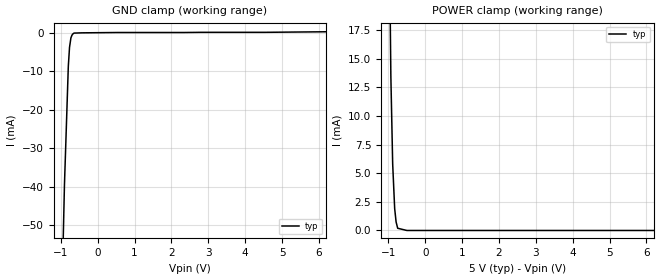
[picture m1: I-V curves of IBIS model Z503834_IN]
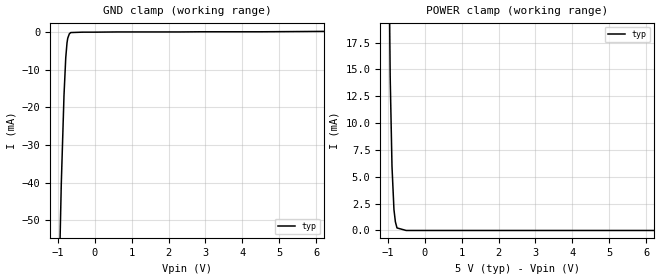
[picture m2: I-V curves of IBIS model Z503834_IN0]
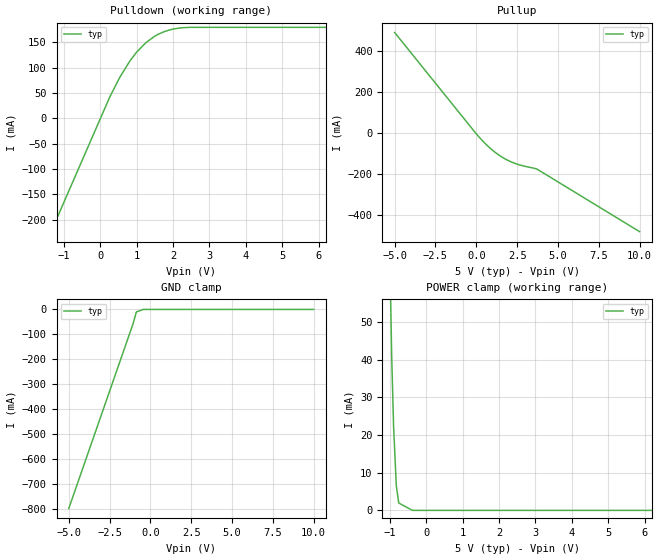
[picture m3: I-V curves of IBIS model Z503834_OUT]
| YOU ARE ONLY AUTHORIZED TO USE THIS SOFTWARE
| ACCORDING TO LICENSOR'S LICENSE RESTRICTIONS.
[IBIS Ver] 3.1
[File Name] mc74act153n.ibs
[File Rev] 2.0
[Source] Measured and created by ICX Technology
[Date] Friday 7/14/00 9:08:01 AM
[Copyright]
| (C) COPYRIGHT 1993-2000
| MENTOR GRAPHICS CORPORATION
| ICX STANDARD LIBRARY, ICX PROJECT MODELING,
| ICX CUSTOM MODELING, ICX VENDOR MODEL
| ALL RIGHTS RESERVED.
| THE FOLLOWING ARE TRADEMARKS OR SERVICE MARKS OF
| MENTOR GRAPHICS CORPORATION:ICX (R), ICX STANDARD
| LIBRARY(R), ICX PROJECT MODELING(R), ICX CUSTOM
| MODELING(R), qualityIBIS(TM), MODELVIEWER(TM),
| AND MODELEDITOR(TM)
| ALL COPIES OF SOFTWARE, INCLUDING BUT NOT LIMITED TO
| ANY MODIFICATIONS, ENHANCEMENTS OR DERIVATIVE WORKS,
| MUST CONTAIN ALL MENTOR GRAPHICS CORPORATION'S
| NOTICES AND LEGENDS, INCLUDING THOSE EMBEDDED IN
| SOFTWARE AND THOSE AFFIXED TO SOFTWARE MEDIUM
| AND CONTAINER, AS RECEIVED FROM MENTOR GRAPHICS
| CORPORATION.
|  ZAP Model Builder 2.7
[Component] MC74ACT153N
[Manufacturer] OnSemiconductor
[Package]
| variable   typ   min   max
R_pkg  .212ohms NA NA
L_pkg  4.758nH NA NA
C_pkg  1.143pF NA NA
[Pin] signal_name  model_name  R_pin  L_pin C_pin
1 _G1 Z503834_IN0 .224 7.258n 1.578p
2 B Z503834_IN1 .216 5.258n 1.288p
3 C3A Z503834_IN .208 3.758n .998p
4 C2A Z503834_IN .2 2.758n .708p
5 C1A Z503834_IN .2 2.758n .708p
6 C0A Z503834_IN .208 3.758n .998p
7 Y1 Z503834_OUT .216 5.258n 1.288p
8 GND GND .224 7.258n 1.578p
9 Y2 Z503834_OUT .224 7.258n 1.578p
10 C0B Z503834_IN .216 5.258n 1.288p
11 C1B Z503834_IN .208 3.758n .998p
12 C2B Z503834_IN .2 2.758n .708p
13 C3B Z503834_IN .2 2.758n .708p
14 A Z503834_IN1 .208 3.758n .998p
15 _G2 Z503834_IN0 .216 5.258n 1.288p
16 VCC POWER .224 7.258n 1.578p
| Models and submodels in the file (4): Z503834_IN (Input), Z503834_IN0 (Input), Z503834_IN1 (Input), Z503834_OUT (Output)
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| (C) COPYRIGHT 1993-2000
| MENTOR GRAPHICS CORPORATION
| ICX STANDARD LIBRARY, ICX PROJECT MODELING,
| ICX CUSTOM MODELING, ICX VENDOR MODEL
| ALL RIGHTS RESERVED.
| THE FOLLOWING ARE TRADEMARKS OR SERVICE MARKS OF
| MENTOR GRAPHICS CORPORATION:ICX (R), ICX STANDARD
| LIBRARY(R), ICX PROJECT MODELING(R), ICX CUSTOM
| MODELING(R), qualityIBIS(TM), MODELVIEWER(TM),
| AND MODELEDITOR(TM)
| ALL COPIES OF SOFTWARE, INCLUDING BUT NOT LIMITED TO
| ANY MODIFICATIONS, ENHANCEMENTS OR DERIVATIVE WORKS,
| MUST CONTAIN ALL MENTOR GRAPHICS CORPORATION'S
| NOTICES AND LEGENDS, INCLUDING THOSE EMBEDDED IN
| SOFTWARE AND THOSE AFFIXED TO SOFTWARE MEDIUM
| AND CONTAINER, AS RECEIVED FROM MENTOR GRAPHICS
| CORPORATION.
| Model Application Version 1.89 2/18/99.
[Model] Z503834_IN
Model_type Input
Vinl = 800.0mV
Vinh = 2.000V
C_comp 4.000pF NA NA
| variable typ   min   max
[Voltage Range] 5.000V NA NA
[GND Clamp Reference] 0.000V NA NA
[POWER Clamp Reference] 5.000V NA NA
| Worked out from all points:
|   GND clamp passes 1 mA (typ) near -0.72 V on its own axis
|   POWER clamp passes 1 mA (typ) near -0.80 V on its own axis
[GND Clamp]
-5V       -2.266A    NA         NA
-1.011V   -84.55mA   NA         NA
-903.5mV  -39.48mA   NA         NA
-798.6mV  -8.653mA   NA         NA
-766mV    -3.768mA   NA         NA
-728.2mV  -1.297mA   NA         NA
-684.3mV  -358.1uA   NA         NA
-645.3mV  -56.7uA    NA         NA
10V       618.9uA    NA         NA
[POWER Clamp]
-5V       2.096A     NA         NA
-1.123V   79.69mA    NA         NA
-1.04V    45.1mA     NA         NA
-933mV    13.42mA    NA         NA
-884mV    5.818mA    NA         NA
-830mV    1.921mA    NA         NA
-791mV    741.7uA    NA         NA
-748mV    193.5uA    NA         NA
-498.7mV  0A         NA         NA
10V       0A         NA         NA
| (C) COPYRIGHT 1993-2000
| MENTOR GRAPHICS CORPORATION
| ICX STANDARD LIBRARY, ICX PROJECT MODELING,
| ICX CUSTOM MODELING, ICX VENDOR MODEL
| ALL RIGHTS RESERVED.
| THE FOLLOWING ARE TRADEMARKS OR SERVICE MARKS OF
| MENTOR GRAPHICS CORPORATION:ICX (R), ICX STANDARD
| LIBRARY(R), ICX PROJECT MODELING(R), ICX CUSTOM
| MODELING(R), qualityIBIS(TM), MODELVIEWER(TM),
| AND MODELEDITOR(TM)
| ALL COPIES OF SOFTWARE, INCLUDING BUT NOT LIMITED TO
| ANY MODIFICATIONS, ENHANCEMENTS OR DERIVATIVE WORKS,
| MUST CONTAIN ALL MENTOR GRAPHICS CORPORATION'S
| NOTICES AND LEGENDS, INCLUDING THOSE EMBEDDED IN
| SOFTWARE AND THOSE AFFIXED TO SOFTWARE MEDIUM
| AND CONTAINER, AS RECEIVED FROM MENTOR GRAPHICS
| CORPORATION.
| Model Application Version 1.89 2/18/99.
[Model] Z503834_IN0
Model_type Input
Vinl = 800.0mV
Vinh = 2.000V
C_comp 4.000pF NA NA
| variable typ   min   max
[Voltage Range] 5.000V NA NA
[GND Clamp Reference] 0.000V NA NA
[POWER Clamp Reference] 5.000V NA NA
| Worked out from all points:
|   GND clamp passes 1 mA (typ) near -0.71 V on its own axis
|   POWER clamp passes 1 mA (typ) near -0.80 V on its own axis
[GND Clamp]
-5V       -2.668A    NA         NA
-1.035V   -99.84mA   NA         NA
-902.7mV  -40.6mA    NA         NA
-828.7mV  -16.79mA   NA         NA
-781.2mV  -6.744mA   NA         NA
-746.8mV  -2.773mA   NA         NA
-727.7mV  -1.579mA   NA         NA
-684.7mV  -406.4uA   NA         NA
-645.5mV  -62.42uA   NA         NA
10V       483.5uA    NA         NA
[POWER Clamp]
-5V       3.219A     NA         NA
-1.104V   94.81mA    NA         NA
-1.019V   45.47mA    NA         NA
-932mV    14.32mA    NA         NA
-883mV    5.967mA    NA         NA
-830mV    1.946mA    NA         NA
-791mV    803.9uA    NA         NA
-748mV    236.9uA    NA         NA
-498.7mV  0A         NA         NA
10V       0A         NA         NA
| (C) COPYRIGHT 1993-2000
| MENTOR GRAPHICS CORPORATION
| ICX STANDARD LIBRARY, ICX PROJECT MODELING,
| ICX CUSTOM MODELING, ICX VENDOR MODEL
| ALL RIGHTS RESERVED.
| THE FOLLOWING ARE TRADEMARKS OR SERVICE MARKS OF
| MENTOR GRAPHICS CORPORATION:ICX (R), ICX STANDARD
| LIBRARY(R), ICX PROJECT MODELING(R), ICX CUSTOM
| MODELING(R), qualityIBIS(TM), MODELVIEWER(TM),
| AND MODELEDITOR(TM)
| ALL COPIES OF SOFTWARE, INCLUDING BUT NOT LIMITED TO
| ANY MODIFICATIONS, ENHANCEMENTS OR DERIVATIVE WORKS,
| MUST CONTAIN ALL MENTOR GRAPHICS CORPORATION'S
| NOTICES AND LEGENDS, INCLUDING THOSE EMBEDDED IN
| SOFTWARE AND THOSE AFFIXED TO SOFTWARE MEDIUM
| AND CONTAINER, AS RECEIVED FROM MENTOR GRAPHICS
| CORPORATION.
| Model Application Version 1.89 2/18/99.
[Model] Z503834_OUT
Model_type Output
Vref=0.000V
Rref=500.0ohms
Cref=50.00pF
Vmeas=1.500V
C_comp 8.000pF NA NA
| variable typ   min   max
[Voltage Range] 5.000V NA NA
[POWER Clamp Reference] 5.000V NA NA
[Pullup Reference] 5.000V NA NA
[Pulldown Reference] 0.000V NA NA
[GND Clamp Reference] 0.000V NA NA
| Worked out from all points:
|   slope of the pulldown table from 0 to 0.75 V, typ, clamps not added: 7.02 ohm
|   slope of the pullup table from 0 to 0.75 V, typ, clamps not added: 11.9 ohm
[GND Clamp]
-5V       -798.6mA   NA         NA
-1.064V   -57.84mA   NA         NA
-858.9mV  -9.962mA   NA         NA
-429.5mV  0A         NA         NA
10V       0A         NA         NA
[Pulldown]
-5V       -825.6mA   NA         NA
260.4mV   41.97mA    NA         NA
537.6mV   81.08mA    NA         NA
818.4mV   113.8mA    NA         NA
999.9mV   130.8mA    NA         NA
1.26V     149.8mA    NA         NA
1.485V    161.7mA    NA         NA
1.772V    171.6mA    NA         NA
2.004V    176.4mA    NA         NA
2.484V    179.8mA    NA         NA
10V       179.8mA    NA         NA
[Pullup]
-5V       492.4mA    NA         NA
36mV      -6.524mA   NA         NA
620mV     -56.23mA   NA         NA
1.085V    -88.99mA   NA         NA
1.535V    -114.6mA   NA         NA
2.146V    -140.3mA   NA         NA
2.651V    -154.8mA   NA         NA
3.725V    -175.6mA   NA         NA
10V       -480.9mA   NA         NA
[POWER Clamp]
-5V       2.209A     NA         NA
-947mV    41.45mA    NA         NA
-894mV    22.4mA     NA         NA
-819mV    6.546mA    NA         NA
-752mV    1.953mA    NA         NA
-376mV    0A         NA         NA
10V       0A         NA         NA
[Ramp]
| variable typ min max
dV/dt_r 2.952/455.1p NA NA
dV/dt_f 2.952/432.2p NA NA
R_load = 500.0Ohms
